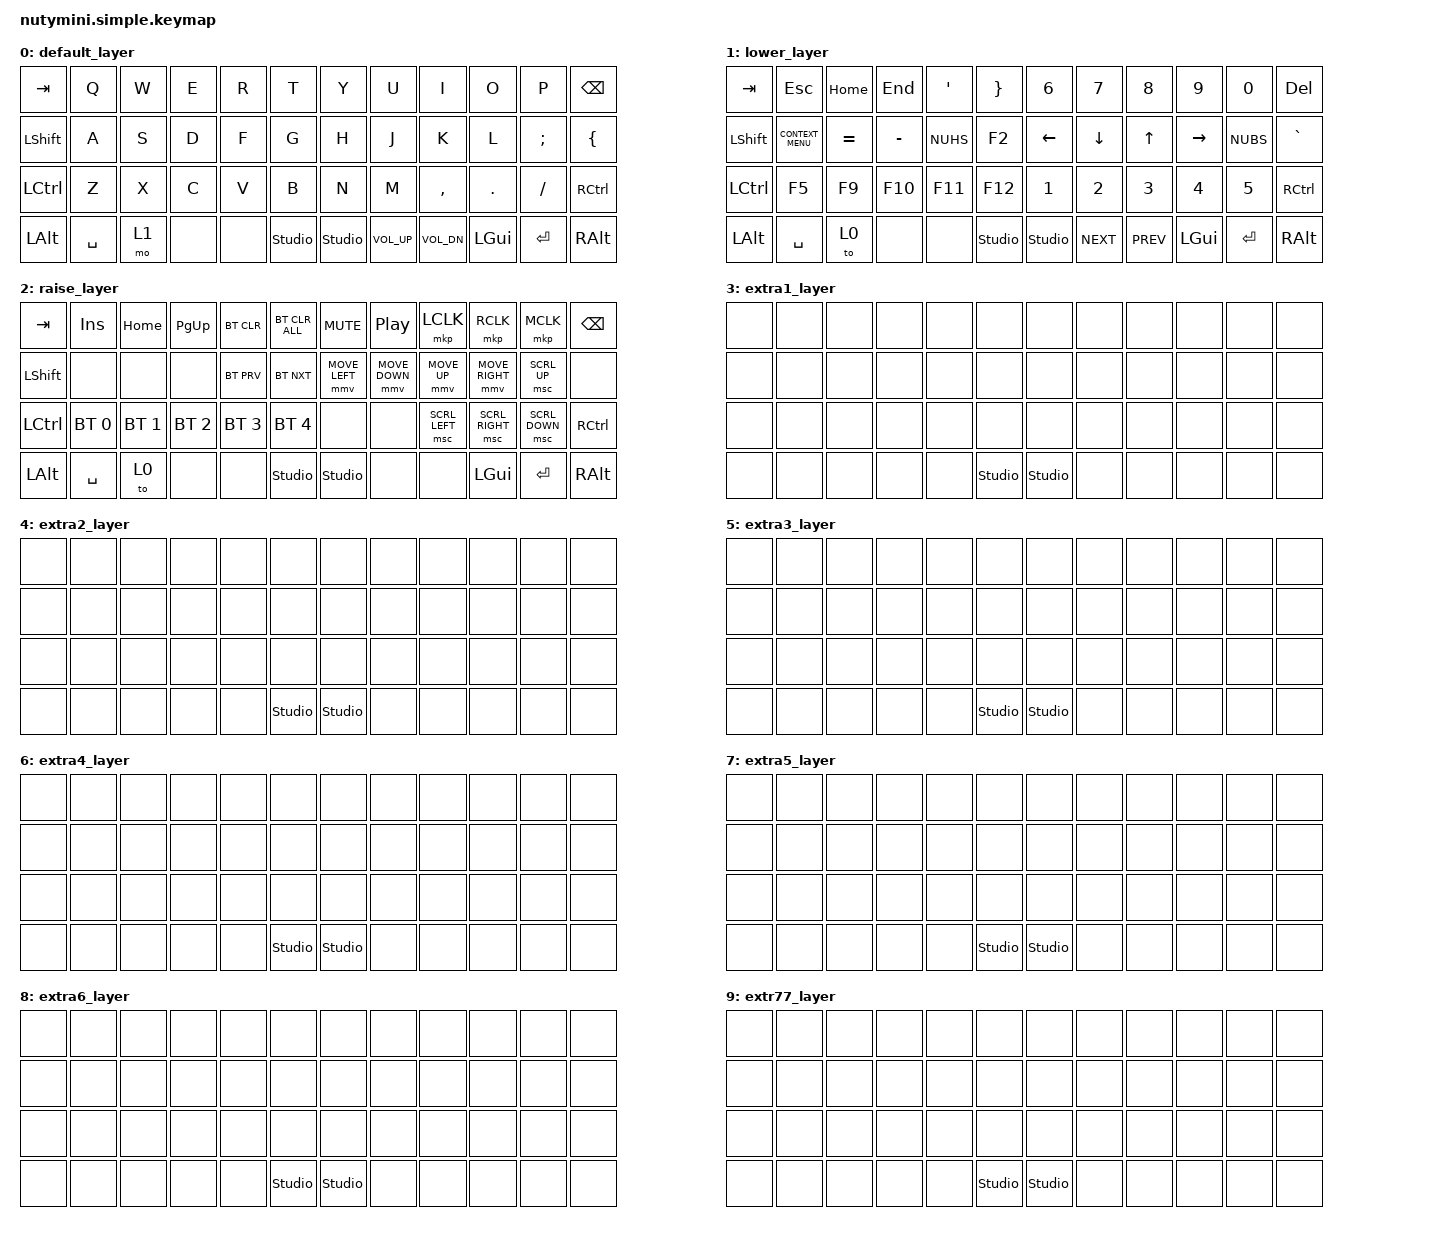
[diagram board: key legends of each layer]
/*
 * Copyright (c) 2020 The ZMK Contributors
 *
 * SPDX-License-Identifier: MIT
 */

#include <behaviors.dtsi>
#include <dt-bindings/zmk/keys.h>
#include <dt-bindings/zmk/bt.h>
#include <dt-bindings/zmk/pointing.h>

/ {
        keymap {
                compatible = "zmk,keymap";

                default_layer {
                        bindings = <
   &kp TAB   &kp Q &kp W &kp E &kp R &kp T   &kp Y &kp U  &kp I     &kp O   &kp P      &kp BSPC
   &kp LSHIFT &kp A &kp S &kp D &kp F &kp G   &kp H &kp J  &kp K     &kp L   &kp SEMI  &kp LBRC
   &kp LCTRL &kp Z &kp X &kp C &kp V &kp B   &kp N &kp M  &kp COMMA &kp DOT &kp FSLH   &kp RCTRL
   &kp LALT &kp SPACE &mo 1  &none &none &studio_unlock   &studio_unlock &kp C_VOL_UP &kp C_VOL_DN &kp LGUI &kp ENTER &kp RALT
                        >;
                };

                lower_layer {
                        bindings = <
   &kp TAB    &kp ESC      &kp HOME       &kp END       &kp APOS    &kp RBRC        &kp N6          &kp N7       &kp N8       &kp N9    &kp N0    &kp DEL
   &kp LSHIFT &kp K_CONTEXT_MENU   &kp EQUAL      &kp MINUS     &kp NUHS    &kp F2          &kp LEFT        &kp DOWN     &kp UP       &kp RIGHT &kp NUBS  &kp GRAVE
   &kp LCTRL  &kp F5     &kp F9         &kp F10       &kp F11     &kp F12         &kp N1          &kp N2       &kp N3       &kp N4    &kp N5    &kp RCTRL
   &kp LALT   &kp SPACE  &to 0          &none         &none    &studio_unlock  &studio_unlock  &kp C_NEXT   &kp C_PREV   &kp LGUI  &kp ENTER &kp RALT
                        >;
                };

                raise_layer {
                        bindings = <
   &kp TAB      &kp INSERT     &kp HOME      &kp PG_UP     &bt BT_CLR     &bt BT_CLR_ALL           &kp C_MUTE            &kp C_PP               &mkp LCLK         &mkp RCLK           &mkp MCLK           &kp BSPC
   &kp LSHIFT   &none          &none         &none         &bt BT_PRV     &bt BT_NXT               &mmv MOVE_LEFT   &mmv MOVE_DOWN      &mmv MOVE_UP      &mmv MOVE_RIGHT     &msc SCRL_UP        &none
   &kp LCTRL    &bt BT_SEL 0   &bt BT_SEL 1  &bt BT_SEL 2  &bt BT_SEL 3   &bt BT_SEL 4             &none            &none               &msc SCRL_LEFT    &msc SCRL_RIGHT     &msc SCRL_DOWN      &kp RCTRL
   &kp LALT     &kp SPACE      &to 0         &none         &none          &studio_unlock           &studio_unlock   &none               &none             &kp LGUI            &kp ENTER           &kp RALT
                        >;
                };

                extra1_layer {
                        bindings = <
   &none      &none     &none      &none     &none     &none           &none            &none       &none     &none         &none        &none
   &none      &none     &none      &none     &none     &none           &none            &none       &none     &none         &none        &none
   &none      &none     &none      &none     &none     &none           &none            &none       &none     &none         &none        &none
   &none      &none     &none      &none     &none     &studio_unlock  &studio_unlock   &none       &none     &none         &none        &none
                        >;
                };

                extra2_layer {
                        bindings = <
   &none      &none     &none      &none     &none     &none           &none            &none       &none     &none         &none        &none
   &none      &none     &none      &none     &none     &none           &none            &none       &none     &none         &none        &none
   &none      &none     &none      &none     &none     &none           &none            &none       &none     &none         &none        &none
   &none      &none     &none      &none     &none     &studio_unlock  &studio_unlock   &none       &none     &none         &none        &none
                        >;
                };


                extra3_layer {
                        bindings = <
   &none      &none     &none      &none     &none     &none           &none            &none       &none     &none         &none        &none
   &none      &none     &none      &none     &none     &none           &none            &none       &none     &none         &none        &none
   &none      &none     &none      &none     &none     &none           &none            &none       &none     &none         &none        &none
   &none      &none     &none      &none     &none     &studio_unlock  &studio_unlock   &none       &none     &none         &none        &none
                        >;
                };

                extra4_layer {
                        bindings = <
   &none      &none     &none      &none     &none     &none           &none            &none       &none     &none         &none        &none
   &none      &none     &none      &none     &none     &none           &none            &none       &none     &none         &none        &none
   &none      &none     &none      &none     &none     &none           &none            &none       &none     &none         &none        &none
   &none      &none     &none      &none     &none     &studio_unlock  &studio_unlock   &none       &none     &none         &none        &none
                        >;
                };

                extra5_layer {
                        bindings = <
   &none      &none     &none      &none     &none     &none           &none            &none       &none     &none         &none        &none
   &none      &none     &none      &none     &none     &none           &none            &none       &none     &none         &none        &none
   &none      &none     &none      &none     &none     &none           &none            &none       &none     &none         &none        &none
   &none      &none     &none      &none     &none     &studio_unlock  &studio_unlock   &none       &none     &none         &none        &none
                        >;
                };

                extra6_layer {
                        bindings = <
   &none      &none     &none      &none     &none     &none           &none            &none       &none     &none         &none        &none
   &none      &none     &none      &none     &none     &none           &none            &none       &none     &none         &none        &none
   &none      &none     &none      &none     &none     &none           &none            &none       &none     &none         &none        &none
   &none      &none     &none      &none     &none     &studio_unlock  &studio_unlock   &none       &none     &none         &none        &none
                        >;
                };

                extr77_layer {
                        bindings = <
   &none      &none     &none      &none     &none     &none           &none            &none       &none     &none         &none        &none
   &none      &none     &none      &none     &none     &none           &none            &none       &none     &none         &none        &none
   &none      &none     &none      &none     &none     &none           &none            &none       &none     &none         &none        &none
   &none      &none     &none      &none     &none     &studio_unlock  &studio_unlock   &none       &none     &none         &none        &none
                        >;
                };





                

        };
};
